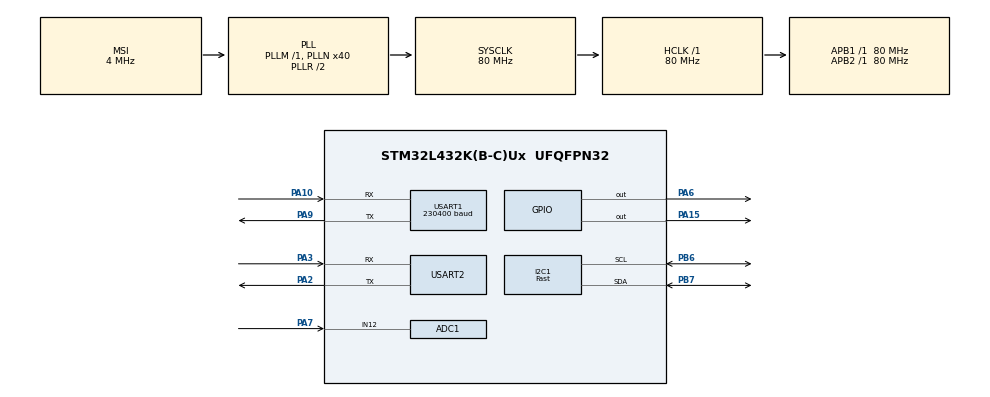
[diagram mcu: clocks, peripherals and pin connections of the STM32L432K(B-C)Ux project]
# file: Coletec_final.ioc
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ADC1.Channel-4\#ChannelRegularConversion=ADC_CHANNEL_12
ADC1.ClockPrescaler=ADC_CLOCK_ASYNC_DIV1
ADC1.ContinuousConvMode=ENABLE
ADC1.DMAContinuousRequests=ENABLE
ADC1.DataAlign=ADC_DATAALIGN_RIGHT
ADC1.DiscontinuousConvMode=DISABLE
ADC1.EOCSelection=ADC_EOC_SINGLE_CONV
ADC1.EnableAnalogWatchDog1=false
ADC1.EnableAnalogWatchDog2=false
ADC1.EnableAnalogWatchDog3=false
ADC1.EnableInjectedConversion=DISABLE
ADC1.EnableRegularConversion=ENABLE
ADC1.ExternalTrigConv=ADC_SOFTWARE_START
ADC1.ExternalTrigConvEdge=ADC_EXTERNALTRIGCONVEDGE_NONE
ADC1.LowPowerAutoWait=DISABLE
ADC1.NbrOfConversion=1
ADC1.NbrOfConversionFlag=1
ADC1.OffsetNumber-4\#ChannelRegularConversion=ADC_OFFSET_NONE
ADC1.Overrun=ADC_OVR_DATA_PRESERVED
ADC1.OversamplingMode=DISABLE
ADC1.Rank-4\#ChannelRegularConversion=1
ADC1.Resolution=ADC_RESOLUTION_12B
ADC1.SamplingTime-4\#ChannelRegularConversion=ADC_SAMPLETIME_2CYCLES_5
ADC1.ScanConvMode=ADC_SCAN_DISABLE
ADC1.master=1
Dma.ADC1.0.Direction=DMA_PERIPH_TO_MEMORY
Dma.ADC1.0.Instance=DMA1_Channel1
Dma.ADC1.0.MemDataAlignment=DMA_MDATAALIGN_HALFWORD
Dma.ADC1.0.MemInc=DMA_MINC_ENABLE
Dma.ADC1.0.Mode=DMA_CIRCULAR
Dma.ADC1.0.PeriphDataAlignment=DMA_PDATAALIGN_HALFWORD
Dma.ADC1.0.PeriphInc=DMA_PINC_DISABLE
Dma.ADC1.0.Priority=DMA_PRIORITY_LOW
Dma.Request0=ADC1
Dma.Request1=USART1_TX
Dma.USART1_TX.1.Direction=DMA_MEMORY_TO_PERIPH
Dma.USART1_TX.1.Instance=DMA2_Channel6
Dma.USART1_TX.1.MemDataAlignment=DMA_MDATAALIGN_BYTE
Dma.USART1_TX.1.MemInc=DMA_MINC_ENABLE
Dma.USART1_TX.1.Mode=DMA_NORMAL
Dma.USART1_TX.1.PeriphDataAlignment=DMA_PDATAALIGN_BYTE
Dma.USART1_TX.1.PeriphInc=DMA_PINC_DISABLE
Dma.USART1_TX.1.Priority=DMA_PRIORITY_LOW
I2C1.I2C_Speed_Mode=I2C_Fast
I2C1.Speed=100
I2C1.Timing=0x103089FF
LPTIM1.ClockPrescaler=LPTIM_PRESCALER_DIV32
Mcu.Family=STM32L4
Mcu.Name=STM32L432K(B-C)Ux
Mcu.Package=UFQFPN32
NVIC.DMA1_Channel1_IRQn=true\:0\:0\:false\:false\:true\:false
NVIC.DMA2_Channel6_IRQn=true\:0\:0\:false\:false\:true\:false
NVIC.LPTIM1_IRQn=true\:1\:0\:true\:false\:true\:true
NVIC.PriorityGroup=NVIC_PRIORITYGROUP_4
NVIC.USART1_IRQn=true\:0\:0\:false\:false\:true\:true
NVIC.USART2_IRQn=true\:0\:0\:false\:false\:true\:true
PA10.Mode=Asynchronous
PA10.Signal=USART1_RX
PA13\ (JTMS-SWDIO).Mode=Serial_Wire
PA13\ (JTMS-SWDIO).Signal=SYS_JTMS-SWDIO
PA14\ (JTCK-SWCLK).Mode=Serial_Wire
PA14\ (JTCK-SWCLK).Signal=SYS_JTCK-SWCLK
PA15\ (JTDI).Signal=GPIO_Output
PA2.Mode=Asynchronous
PA2.Signal=USART2_TX
PA3.Mode=Asynchronous
PA3.Signal=USART2_RX
PA6.Signal=GPIO_Output
PA7.Signal=ADCx_IN12
PA9.Mode=Asynchronous
PA9.Signal=USART1_TX
PB6.Mode=I2C
PB6.Signal=I2C1_SCL
PB7.Mode=I2C
PB7.Signal=I2C1_SDA
ProjectManager.HeapSize=0x200
ProjectManager.StackSize=0x400
ProjectManager.TargetToolchain=TrueSTUDIO
RCC.ADCFreq_Value=32000000
RCC.AHBFreq_Value=80000000
RCC.APB1Freq_Value=80000000
RCC.APB1TimFreq_Value=80000000
RCC.APB2Freq_Value=80000000
RCC.APB2TimFreq_Value=80000000
RCC.CortexFreq_Value=80000000
RCC.HCLKFreq_Value=80000000
RCC.HSE_VALUE=8000000
RCC.HSI48_VALUE=48000000
RCC.HSI_VALUE=16000000
RCC.LPTIM1CLockSelection=RCC_LPTIM1CLKSOURCE_LSI
RCC.LSE_VALUE=32768
RCC.MSI_VALUE=4000000
RCC.PLLN=40
RCC.PLLSAI1N=16
RCC.SYSCLKFreq_VALUE=80000000
RCC.SYSCLKSource=RCC_SYSCLKSOURCE_PLLCLK
RCC.USBFreq_Value=32000000
RCC.VCOOutputFreq_Value=160000000
SH.ADCx_IN12.0=ADC1_IN12,IN12-Single-Ended
USART1.BaudRate=230400
USART1.VirtualMode-Asynchronous=VM_ASYNC
USART1.WordLength=WORDLENGTH_8B
USART2.VirtualMode-Asynchronous=VM_ASYNC
USART2.WordLength=WORDLENGTH_8B
VP_LPTIM1_VS_LPTIM_counterModeInternalClock.Mode=Counts__internal_clock_event_00
board=Coletec_final

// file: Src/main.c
/**
  ******************************************************************************
  * File Name          : main.c
  * Description        : Main program body
  ******************************************************************************
  ** This notice applies to any and all portions of this file
  * that are not between comment pairs USER CODE BEGIN and
  * USER CODE END. Other portions of this file, whether
  * inserted by the user or by software development tools
  * are owned by their respective copyright owners.
  *
  * COPYRIGHT(c) 2018 STMicroelectronics
  *
  * Redistribution and use in source and binary forms, with or without modification,
  * are permitted provided that the following conditions are met:
  *   1. Redistributions of source code must retain the above copyright notice,
  *      this list of conditions and the following disclaimer.
  *   2. Redistributions in binary form must reproduce the above copyright notice,
  *      this list of conditions and the following disclaimer in the documentation
  *      and/or other materials provided with the distribution.
  *   3. Neither the name of STMicroelectronics nor the names of its contributors
  *      may be used to endorse or promote products derived from this software
  *      without specific prior written permission.
  *
  * THIS SOFTWARE IS PROVIDED BY THE COPYRIGHT HOLDERS AND CONTRIBUTORS "AS IS"
  * AND ANY EXPRESS OR IMPLIED WARRANTIES, INCLUDING, BUT NOT LIMITED TO, THE
  * IMPLIED WARRANTIES OF MERCHANTABILITY AND FITNESS FOR A PARTICULAR PURPOSE ARE
  * DISCLAIMED. IN NO EVENT SHALL THE COPYRIGHT HOLDER OR CONTRIBUTORS BE LIABLE
  * FOR ANY DIRECT, INDIRECT, INCIDENTAL, SPECIAL, EXEMPLARY, OR CONSEQUENTIAL
  * DAMAGES (INCLUDING, BUT NOT LIMITED TO, PROCUREMENT OF SUBSTITUTE GOODS OR
  * SERVICES; LOSS OF USE, DATA, OR PROFITS; OR BUSINESS INTERRUPTION) HOWEVER
  * CAUSED AND ON ANY THEORY OF LIABILITY, WHETHER IN CONTRACT, STRICT LIABILITY,
  * OR TORT (INCLUDING NEGLIGENCE OR OTHERWISE) ARISING IN ANY WAY OUT OF THE USE
  * OF THIS SOFTWARE, EVEN IF ADVISED OF THE POSSIBILITY OF SUCH DAMAGE.
  *
  ******************************************************************************
  */

#include "main.h"
#include "stm32l4xx_hal.h"

/* USER CODE BEGIN Includes */
#include "LSM6DS3H.h"
#include "ESP8266.h"
#include "ringbuf.h"

/* USER CODE END Includes */

ADC_HandleTypeDef hadc1;
DMA_HandleTypeDef hdma_adc1;

I2C_HandleTypeDef hi2c1;

LPTIM_HandleTypeDef hlptim1;

UART_HandleTypeDef huart1;
UART_HandleTypeDef huart2;
DMA_HandleTypeDef hdma_usart1_tx;

/* USER CODE BEGIN PV */
/* Private variables ---------------------------------------------------------*/

uint8_t temperatura[2];

uint8_t AxisGyro[6];

uint8_t AxisAcc[6];

uint8_t AD[2];

uint8_t who_am_i[1];

struct ringbuf Ring;
struct ringbuf Ring_Mensagem;

uint8_t BufRx[256];                                //espaço para ler mensagens do ringbuff
uint8_t BufRx_Mensagem[SizeOfRingBuf_Mensagem];
uint8_t RingBuf[SizeOfRingBuf];                    //ringbuff para recepção das mensagens do ESP8266
uint8_t RingBuf_Mensagem[SizeOfRingBuf_Mensagem];  //ring para armazenamento das amostras

int byte_disponivel = 0;

bool conection_set = false;
bool is_msg = 0;

int j;

char mensagem[30];

int count = 0;

/* USER CODE END PV */

void SystemClock_Config(void);
static void MX_GPIO_Init(void);
static void MX_DMA_Init(void);
static void MX_USART2_UART_Init(void);
static void MX_I2C1_Init(void);
static void MX_USART1_UART_Init(void);
static void MX_ADC1_Init(void);
static void MX_LPTIM1_Init(void);

/* USER CODE BEGIN PFP */
/* Private function prototypes -----------------------------------------------*/

void codifica_axis(uint8_t Acc[], uint8_t Gyro[], uint8_t AD_Bat[]);

/* USER CODE END PFP */

int main(void)
{

  /* MCU Configuration----------------------------------------------------------*/

  /* Reset of all peripherals, Initializes the Flash interface and the Systick. */
  HAL_Init();

  /* Configure the system clock */
  SystemClock_Config();

  /* Initialize all configured peripherals */
  MX_GPIO_Init();
  MX_DMA_Init();
  MX_USART2_UART_Init();
  MX_I2C1_Init();
  MX_USART1_UART_Init();
  MX_ADC1_Init();
  MX_LPTIM1_Init();

  /* USER CODE BEGIN 2 */

	ringbuf_init(&Ring, RingBuf , SizeOfRingBuf);
	ringbuf_init(&Ring_Mensagem, RingBuf_Mensagem , SizeOfRingBuf_Mensagem);

	//__HAL_UART_ENABLE_IT(&huart2, UART_IT_TC); // habilita interrupção UART
	#ifdef COLETEC

	if (HAL_ADCEx_Calibration_Start(&hadc1, ADC_SINGLE_ENDED) !=  HAL_OK)
  {
    _Error_Handler(__FILE__, __LINE__);
  }

	if (HAL_ADC_Start_DMA(&hadc1, (uint32_t*)AD ,sizeof(AD)) != HAL_OK)
  {
		_Error_Handler(__FILE__, __LINE__);
  }

	while (LSM_Init(&hi2c1, LOW_ADDRESS) != LSM_OK){}

	#endif

	#ifdef RECEPTEC
	uint8_t autenticacao[3];

		while(strcmp((const char*)autenticacao, (const char*) "~x~") != 0)
		{
			HAL_UART_Transmit_IT(&huart1, (uint8_t*) "~x~", 3); //envia para softec mensagem de conectado
      HAL_UART_Receive_IT(&huart1, autenticacao , 3); //envia para softec mensagem de conectado
			HAL_Delay(1000);
		}

	#endif

	while (ESP8266_init(&huart2)!= ESP_OK){}

	#ifdef COLETEC
		if (HAL_LPTIM_Counter_Start_IT(&hlptim1, 19) != HAL_OK)
  {
    Error_Handler();
  }
	#endif

  /* USER CODE END 2 */

  /* Infinite loop */
  /* USER CODE BEGIN WHILE */

  while (1)
  {

		#ifdef COLETEC

		while(count < AmostrasEnvio);

		count = 0;
		memset(BufRx, 0, sizeof(BufRx));
		ringbuf_read_buffer(&Ring_Mensagem, byte_disponivel, BufRx_Mensagem);
		ESP_ENVIA_DADOS(&huart2, (char *)BufRx_Mensagem, byte_disponivel);

		#endif

  /* USER CODE END WHILE */

  }

}

/** System Clock Configuration
*/
void SystemClock_Config(void)
{

  RCC_OscInitTypeDef RCC_OscInitStruct;
  RCC_ClkInitTypeDef RCC_ClkInitStruct;
  RCC_PeriphCLKInitTypeDef PeriphClkInit;

    /**Initializes the CPU, AHB and APB busses clocks
    */
  RCC_OscInitStruct.OscillatorType = RCC_OSCILLATORTYPE_LSI|RCC_OSCILLATORTYPE_MSI;
  RCC_OscInitStruct.LSIState = RCC_LSI_ON;
  RCC_OscInitStruct.MSIState = RCC_MSI_ON;
  RCC_OscInitStruct.MSICalibrationValue = 0;
  RCC_OscInitStruct.MSIClockRange = RCC_MSIRANGE_6;
  RCC_OscInitStruct.PLL.PLLState = RCC_PLL_ON;
  RCC_OscInitStruct.PLL.PLLSource = RCC_PLLSOURCE_MSI;
  RCC_OscInitStruct.PLL.PLLM = 1;
  RCC_OscInitStruct.PLL.PLLN = 40;
  RCC_OscInitStruct.PLL.PLLP = RCC_PLLP_DIV7;
  RCC_OscInitStruct.PLL.PLLQ = RCC_PLLQ_DIV2;
  RCC_OscInitStruct.PLL.PLLR = RCC_PLLR_DIV2;
  if (HAL_RCC_OscConfig(&RCC_OscInitStruct) != HAL_OK)
  {
    _Error_Handler(__FILE__, __LINE__);
  }

    /**Initializes the CPU, AHB and APB busses clocks
    */
  RCC_ClkInitStruct.ClockType = RCC_CLOCKTYPE_HCLK|RCC_CLOCKTYPE_SYSCLK
                              |RCC_CLOCKTYPE_PCLK1|RCC_CLOCKTYPE_PCLK2;
  RCC_ClkInitStruct.SYSCLKSource = RCC_SYSCLKSOURCE_PLLCLK;
  RCC_ClkInitStruct.AHBCLKDivider = RCC_SYSCLK_DIV1;
  RCC_ClkInitStruct.APB1CLKDivider = RCC_HCLK_DIV1;
  RCC_ClkInitStruct.APB2CLKDivider = RCC_HCLK_DIV1;

  if (HAL_RCC_ClockConfig(&RCC_ClkInitStruct, FLASH_LATENCY_4) != HAL_OK)
  {
    _Error_Handler(__FILE__, __LINE__);
  }

  PeriphClkInit.PeriphClockSelection = RCC_PERIPHCLK_USART1|RCC_PERIPHCLK_USART2
                              |RCC_PERIPHCLK_LPTIM1|RCC_PERIPHCLK_I2C1
                              |RCC_PERIPHCLK_ADC;
  PeriphClkInit.Usart1ClockSelection = RCC_USART1CLKSOURCE_PCLK2;
  PeriphClkInit.Usart2ClockSelection = RCC_USART2CLKSOURCE_PCLK1;
  PeriphClkInit.I2c1ClockSelection = RCC_I2C1CLKSOURCE_PCLK1;
  PeriphClkInit.Lptim1ClockSelection = RCC_LPTIM1CLKSOURCE_LSI;
  PeriphClkInit.AdcClockSelection = RCC_ADCCLKSOURCE_PLLSAI1;
  PeriphClkInit.PLLSAI1.PLLSAI1Source = RCC_PLLSOURCE_MSI;
  PeriphClkInit.PLLSAI1.PLLSAI1M = 1;
  PeriphClkInit.PLLSAI1.PLLSAI1N = 16;
  PeriphClkInit.PLLSAI1.PLLSAI1P = RCC_PLLP_DIV7;
  PeriphClkInit.PLLSAI1.PLLSAI1Q = RCC_PLLQ_DIV2;
  PeriphClkInit.PLLSAI1.PLLSAI1R = RCC_PLLR_DIV2;
  PeriphClkInit.PLLSAI1.PLLSAI1ClockOut = RCC_PLLSAI1_ADC1CLK;
  if (HAL_RCCEx_PeriphCLKConfig(&PeriphClkInit) != HAL_OK)
  {
    _Error_Handler(__FILE__, __LINE__);
  }

    /**Configure the main internal regulator output voltage
    */
  if (HAL_PWREx_ControlVoltageScaling(PWR_REGULATOR_VOLTAGE_SCALE1) != HAL_OK)
  {
    _Error_Handler(__FILE__, __LINE__);
  }

    /**Configure the Systick interrupt time
    */
  HAL_SYSTICK_Config(HAL_RCC_GetHCLKFreq()/1000);

    /**Configure the Systick
    */
  HAL_SYSTICK_CLKSourceConfig(SYSTICK_CLKSOURCE_HCLK);

  /* SysTick_IRQn interrupt configuration */
  HAL_NVIC_SetPriority(SysTick_IRQn, 0, 0);
}

/* ADC1 init function */
static void MX_ADC1_Init(void)
{

  ADC_ChannelConfTypeDef sConfig;

    /**Common config
    */
  hadc1.Instance = ADC1;
  hadc1.Init.ClockPrescaler = ADC_CLOCK_ASYNC_DIV1;
  hadc1.Init.Resolution = ADC_RESOLUTION_12B;
  hadc1.Init.DataAlign = ADC_DATAALIGN_RIGHT;
  hadc1.Init.ScanConvMode = ADC_SCAN_DISABLE;
  hadc1.Init.EOCSelection = ADC_EOC_SINGLE_CONV;
  hadc1.Init.LowPowerAutoWait = DISABLE;
  hadc1.Init.ContinuousConvMode = ENABLE;
  hadc1.Init.NbrOfConversion = 1;
  hadc1.Init.DiscontinuousConvMode = DISABLE;
  hadc1.Init.NbrOfDiscConversion = 1;
  hadc1.Init.ExternalTrigConv = ADC_SOFTWARE_START;
  hadc1.Init.ExternalTrigConvEdge = ADC_EXTERNALTRIGCONVEDGE_NONE;
  hadc1.Init.DMAContinuousRequests = ENABLE;
  hadc1.Init.Overrun = ADC_OVR_DATA_PRESERVED;
  hadc1.Init.OversamplingMode = DISABLE;
  if (HAL_ADC_Init(&hadc1) != HAL_OK)
  {
    _Error_Handler(__FILE__, __LINE__);
  }

    /**Configure Regular Channel
    */
  sConfig.Channel = ADC_CHANNEL_12;
  sConfig.Rank = 1;
  sConfig.SamplingTime = ADC_SAMPLETIME_2CYCLES_5;
  sConfig.SingleDiff = ADC_SINGLE_ENDED;
  sConfig.OffsetNumber = ADC_OFFSET_NONE;
  sConfig.Offset = 0;
  if (HAL_ADC_ConfigChannel(&hadc1, &sConfig) != HAL_OK)
  {
    _Error_Handler(__FILE__, __LINE__);
  }

}

/* I2C1 init function */
static void MX_I2C1_Init(void)
{

  hi2c1.Instance = I2C1;
  hi2c1.Init.Timing = 0x103089FF;
  hi2c1.Init.OwnAddress1 = 0;
  hi2c1.Init.AddressingMode = I2C_ADDRESSINGMODE_7BIT;
  hi2c1.Init.DualAddressMode = I2C_DUALADDRESS_DISABLE;
  hi2c1.Init.OwnAddress2 = 0;
  hi2c1.Init.OwnAddress2Masks = I2C_OA2_NOMASK;
  hi2c1.Init.GeneralCallMode = I2C_GENERALCALL_DISABLE;
  hi2c1.Init.NoStretchMode = I2C_NOSTRETCH_DISABLE;
  if (HAL_I2C_Init(&hi2c1) != HAL_OK)
  {
    _Error_Handler(__FILE__, __LINE__);
  }

    /**Configure Analogue filter
    */
  if (HAL_I2CEx_ConfigAnalogFilter(&hi2c1, I2C_ANALOGFILTER_ENABLE) != HAL_OK)
  {
    _Error_Handler(__FILE__, __LINE__);
  }

    /**Configure Digital filter
    */
  if (HAL_I2CEx_ConfigDigitalFilter(&hi2c1, 0) != HAL_OK)
  {
    _Error_Handler(__FILE__, __LINE__);
  }

}

/* LPTIM1 init function */
static void MX_LPTIM1_Init(void)
{

  hlptim1.Instance = LPTIM1;
  hlptim1.Init.Clock.Source = LPTIM_CLOCKSOURCE_APBCLOCK_LPOSC;
  hlptim1.Init.Clock.Prescaler = LPTIM_PRESCALER_DIV32;
  hlptim1.Init.Trigger.Source = LPTIM_TRIGSOURCE_SOFTWARE;
  hlptim1.Init.OutputPolarity = LPTIM_OUTPUTPOLARITY_HIGH;
  hlptim1.Init.UpdateMode = LPTIM_UPDATE_IMMEDIATE;
  hlptim1.Init.CounterSource = LPTIM_COUNTERSOURCE_INTERNAL;
  hlptim1.Init.Input1Source = LPTIM_INPUT1SOURCE_GPIO;
  hlptim1.Init.Input2Source = LPTIM_INPUT2SOURCE_GPIO;
  if (HAL_LPTIM_Init(&hlptim1) != HAL_OK)
  {
    _Error_Handler(__FILE__, __LINE__);
  }

}

/* USART1 init function */
static void MX_USART1_UART_Init(void)
{

  huart1.Instance = USART1;
  huart1.Init.BaudRate = 230400;
  huart1.Init.WordLength = UART_WORDLENGTH_8B;
  huart1.Init.StopBits = UART_STOPBITS_1;
  huart1.Init.Parity = UART_PARITY_NONE;
  huart1.Init.Mode = UART_MODE_TX_RX;
  huart1.Init.HwFlowCtl = UART_HWCONTROL_NONE;
  huart1.Init.OverSampling = UART_OVERSAMPLING_16;
  huart1.Init.OneBitSampling = UART_ONE_BIT_SAMPLE_DISABLE;
  huart1.AdvancedInit.AdvFeatureInit = UART_ADVFEATURE_NO_INIT;
  if (HAL_UART_Init(&huart1) != HAL_OK)
  {
    _Error_Handler(__FILE__, __LINE__);
  }

}

/* USART2 init function */
static void MX_USART2_UART_Init(void)
{

  huart2.Instance = USART2;
  huart2.Init.BaudRate = 115200;
  huart2.Init.WordLength = UART_WORDLENGTH_8B;
  huart2.Init.StopBits = UART_STOPBITS_1;
  huart2.Init.Parity = UART_PARITY_NONE;
  huart2.Init.Mode = UART_MODE_TX_RX;
  huart2.Init.HwFlowCtl = UART_HWCONTROL_NONE;
  huart2.Init.OverSampling = UART_OVERSAMPLING_16;
  huart2.Init.OneBitSampling = UART_ONE_BIT_SAMPLE_DISABLE;
  huart2.AdvancedInit.AdvFeatureInit = UART_ADVFEATURE_NO_INIT;
  if (HAL_UART_Init(&huart2) != HAL_OK)
  {
    _Error_Handler(__FILE__, __LINE__);
  }

}

static void MX_DMA_Init(void)
{
  /* DMA controller clock enable */
  __HAL_RCC_DMA1_CLK_ENABLE();
  __HAL_RCC_DMA2_CLK_ENABLE();

  /* DMA interrupt init */
  /* DMA1_Channel1_IRQn interrupt configuration */
  //HAL_NVIC_SetPriority(DMA1_Channel1_IRQn, 0, 0);
  //HAL_NVIC_EnableIRQ(DMA1_Channel1_IRQn);
  /* DMA2_Channel6_IRQn interrupt configuration */
  HAL_NVIC_SetPriority(DMA2_Channel6_IRQn, 0, 0);
  HAL_NVIC_EnableIRQ(DMA2_Channel6_IRQn);

}

/** Configure pins as
        * Analog
        * Input
        * Output
        * EVENT_OUT
        * EXTI
*/
static void MX_GPIO_Init(void)
{

  GPIO_InitTypeDef GPIO_InitStruct;

  /* GPIO Ports Clock Enable */
  __HAL_RCC_GPIOA_CLK_ENABLE();
  __HAL_RCC_GPIOB_CLK_ENABLE();

  /*Configure GPIO pin Output Level */
  HAL_GPIO_WritePin(GPIOA, GPIO_PIN_6|GPIO_PIN_15, GPIO_PIN_RESET);

  /*Configure GPIO pins : PA6 PA15 */
  GPIO_InitStruct.Pin = GPIO_PIN_6|GPIO_PIN_15;
  GPIO_InitStruct.Mode = GPIO_MODE_OUTPUT_PP;
  GPIO_InitStruct.Pull = GPIO_NOPULL;
  GPIO_InitStruct.Speed = GPIO_SPEED_FREQ_LOW;
  HAL_GPIO_Init(GPIOA, &GPIO_InitStruct);

}

/* USER CODE BEGIN 4 */

void HAL_LPTIM_AutoReloadMatchCallback(LPTIM_HandleTypeDef *hlptim)
{
  /* Turn on LED3 */
	  //HAL_GPIO_TogglePin(GPIOA,GPIO_PIN_15);
		LSM_REG_READ_MULTIPLE(&hi2c1, LOW_ADDRESS,  OUTX_L_XL,  sizeof(AxisAcc),  AxisAcc);
		LSM_REG_READ_MULTIPLE(&hi2c1, LOW_ADDRESS,   OUTX_L_G, sizeof(AxisGyro), AxisGyro);
	  codifica_axis(AxisAcc, AxisGyro, AD);
	  count++;
	  //HAL_GPIO_TogglePin(GPIOA,GPIO_PIN_15);
}

void codifica_axis(uint8_t Acc[], uint8_t Gyro[], uint8_t AD_Bat[])
{
	int i;
	j=0;
	char caracter;

	memset(mensagem, 0, sizeof(mensagem));

	mensagem[j] = '~';
	j++;

	for(i=0; i<6; i++){

		caracter = (char) Acc[i];

		switch (caracter){

			case '~':
					mensagem[j] = '}';
					mensagem[j+1] = '^';
					j=j+2;
			break;

			case '}':
					mensagem[j] = '}';
					mensagem[j+1] = ']';
					j=j+2;
			break;

			default:
					mensagem[j] = caracter;
					j++;
			break;
		}
	}

	i=0;

	for(i=0; i<6; i++){

		caracter = Gyro[i];
		switch (caracter){

			case '~':
					mensagem[j] = '}';
					mensagem[j+1] = '^';
					j=j+2;
			break;

			case '}':
					mensagem[j] = '}';
					mensagem[j+1] = ']';

					j=j+2;
			break;

			default:
					mensagem[j] = caracter;
					j++;
			break;
		}
	}

		i=0;

	// descomentar quando implementar AD

	for(i=0; i<2; i++){ //sentido dos bytes do AD é invertido
		caracter = AD_Bat[i];
		switch (caracter){

			case '~':
					mensagem[j] = '}';
					mensagem[j+1] = '^';
					j=j+2;
			break;

			case '}':
					mensagem[j] = '}';
					mensagem[j+1] = ']';
					j=j+2;
			break;

			default:
					mensagem[j] = caracter;
					j++;
			break;
		}
	}

	mensagem[j] = '~';

	ringbuf_write_buffer(&Ring_Mensagem, j+1, (uint8_t *)mensagem);

	byte_disponivel = ringbuf_read_available(&Ring_Mensagem);

}

/* USER CODE END 4 */

void _Error_Handler(char * file, int line)
{
  while(1)
  {
  }
}

/************************ (C) COPYRIGHT STMicroelectronics *****END OF FILE****/
